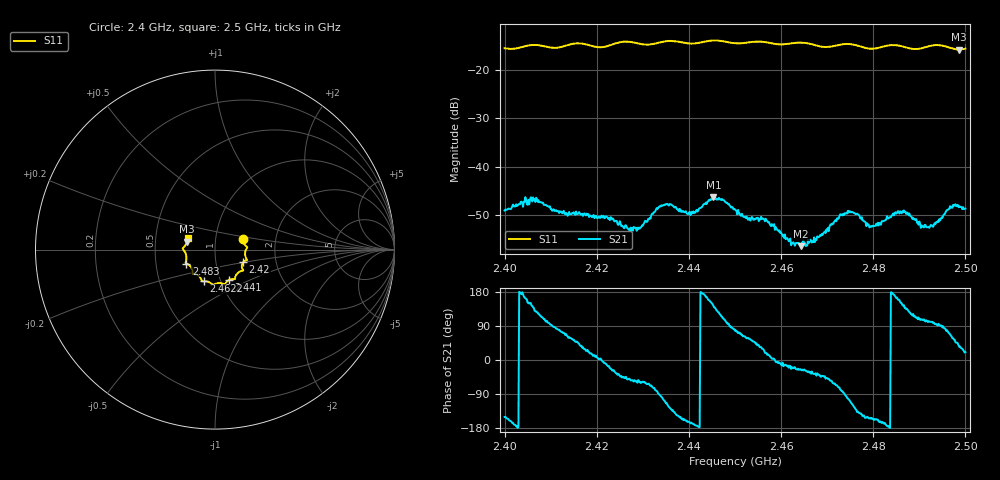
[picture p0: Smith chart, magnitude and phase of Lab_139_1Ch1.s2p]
# Hz S RI R 50
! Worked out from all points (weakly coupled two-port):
!   601 points, 2.4 GHz to 2.5 GHz, reference 50 ohm
!   highest |S21| = -46.26 dB at 2.4453 GHz (marker M1); lowest = -56.4 dB at 2.4643 GHz (marker M2)
!   lowest |S11| = -15.8 dB at 2.4987 GHz (marker M3), VSWR 1.39, Z = 36.4 + j3.32 ohm
!   |S11| at or under -10 dB: start of sweep to end of sweep
!   S12 and S22 are empty: the file has one direction only
!   S11 on the Smith chart (normalised r, x): 2.4 GHz: 1.36, +0.17; 2.42 GHz: 1.36, -0.20; 2.441 GHz: 1.09, -0.39; 2.4622 GHz: 0.83, -0.30; 2.483 GHz: 0.72, -0.12; 2.5 GHz: 0.73, +0.09
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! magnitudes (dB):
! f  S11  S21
! 2.4 GHz  -15.5  -49.0
! 2.406 GHz  -14.9  -47.2
! 2.4167 GHz  -14.6  -49.9
! 2.42 GHz  -15.3  -50.6
! 2.429 GHz  -14.6  -52.9
! 2.4333 GHz  -14.4  -48.5
! 2.4357 GHz  -14.0  -48.0
! 2.441 GHz  -14.6  -49.2
! 2.4453 GHz  -13.9  -46.3
! 2.45 GHz  -14.5  -48.9
! 2.4565 GHz  -14.3  -51.3
! 2.4622 GHz  -14.5  -56.2
! 2.4643 GHz  -14.4  -56.4
! 2.4667 GHz  -14.7  -55.7
! 2.4745 GHz  -14.7  -49.1
! 2.4797 GHz  -15.7  -52.4
! 2.483 GHz  -15.0  -50.2
! 2.4833 GHz  -15.0  -50.7
! 2.4868 GHz  -15.3  -49.3
! 2.492 GHz  -15.1  -52.4
! 2.4987 GHz  -15.8  -48.1
! 2.5 GHz  -15.6  -48.6
